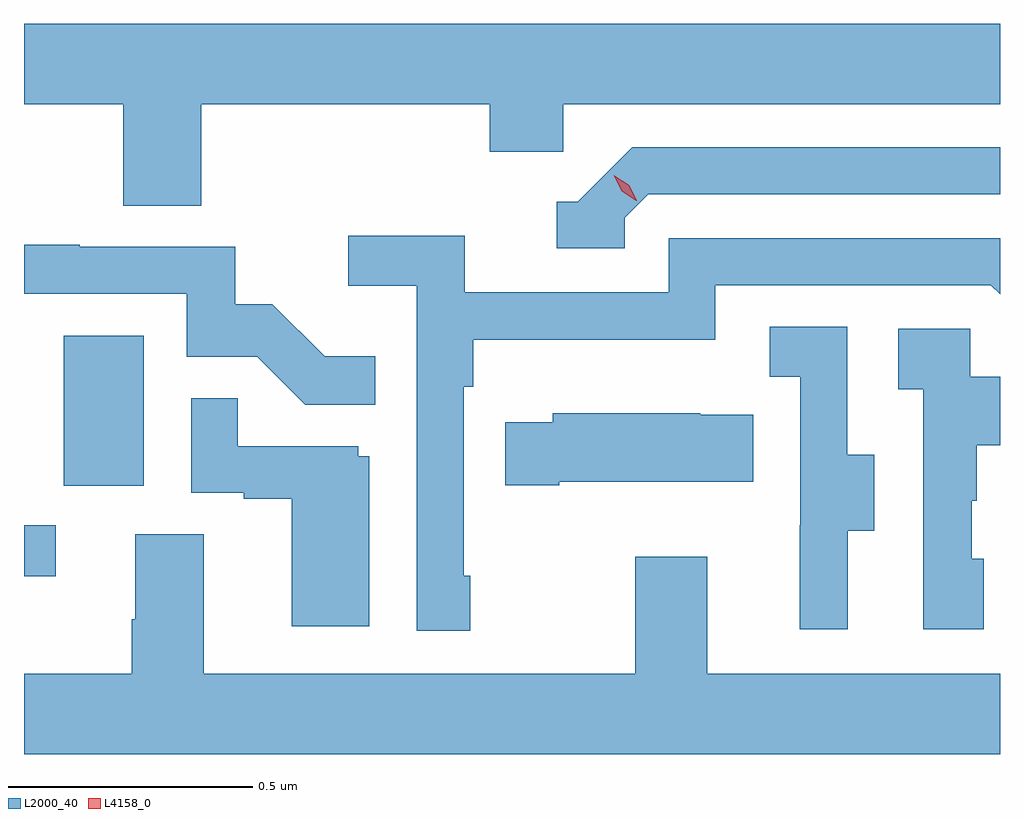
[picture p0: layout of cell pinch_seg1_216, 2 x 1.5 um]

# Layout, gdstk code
import gdstk
lib = gdstk.Library(unit=1e-6, precision=1e-09)
def R(c, l, rs):  # rectangles x0, y0, x1, y1
    for r in rs: c.add(gdstk.rectangle(r[:2], r[2:], *l))
def P(c, l, *ps):  # polygons
    for p in ps: c.add(gdstk.Polygon(p, *l))
L2000_40 = (2000, 40)
L4158_0 = (4158, 0)

pinch_seg1_216 = lib.new_cell('pinch_seg1_216')
R(pinch_seg1_216, L2000_40, [(951.119,566.748,951.184,566.853), (951.2,566.934,951.364,567.241)])
P(pinch_seg1_216, L2000_40, [(951.482,567.716),(952.073,567.716),(952.073,567.618),(952.224,567.618),(952.224,567.716),(953.119,567.716),(953.119,567.88),(951.119,567.88),(951.119,567.716),(951.322,567.716),(951.322,567.508),(951.482,567.508)],
  [(952.35,567.483),(952.398,567.531),(953.119,567.531),(953.119,567.627),(952.365,567.627),(952.254,567.516),(952.211,567.516),(952.211,567.42),(952.35,567.42)],
  [(952.033,566.749),(952.02,566.749),(952.02,567.137),(952.04,567.137),(952.04,567.233),(952.536,567.233),(952.536,567.345),(953.1,567.345),(953.119,567.326),(953.119,567.441),(952.44,567.441),(952.44,567.33),(952.022,567.33),(952.022,567.446),(951.783,567.446),(951.783,567.344),(951.924,567.344),(951.924,566.637),(952.033,566.637)],
  [(951.839,567.199),(951.735,567.199),(951.628,567.306),(951.552,567.306),(951.552,567.423),(951.233,567.423),(951.233,567.428),(951.119,567.428),(951.119,567.327),(951.453,567.327),(951.453,567.198),(951.597,567.198),(951.695,567.1),(951.839,567.1)],
  [(952.807,566.842),(952.861,566.842),(952.861,566.997),(952.806,566.997),(952.806,567.26),(952.647,567.26),(952.647,567.157),(952.71,567.157),(952.71,566.853),(952.709,566.853),(952.709,566.64),(952.807,566.64)],
  [(953.086,566.784),(953.061,566.784),(953.061,566.903),(953.071,566.903),(953.071,567.017),(953.119,567.017),(953.119,567.157),(953.058,567.157),(953.058,567.255),(952.911,567.255),(952.911,567.131),(952.962,567.131),(952.962,566.64),(953.086,566.64)],
  [(951.826,566.994),(951.804,566.994),(951.804,567.015),(951.557,567.015),(951.557,567.113),(951.462,567.113),(951.462,566.919),(951.569,566.919),(951.569,566.907),(951.668,566.907),(951.668,566.646),(951.826,566.646)],
  [(952.216,566.942),(952.613,566.942),(952.613,567.079),(952.505,567.079),(952.505,567.082),(952.203,567.082),(952.203,567.064),(952.105,567.064),(952.105,566.935),(952.216,566.935)],
  [(953.119,566.548),(952.519,566.548),(952.519,566.788),(952.372,566.788),(952.372,566.548),(951.487,566.548),(951.487,566.834),(951.347,566.834),(951.347,566.66),(951.34,566.66),(951.34,566.548),(951.119,566.548),(951.119,566.384),(953.119,566.384)])
P(pinch_seg1_216, L4158_0, [(952.374,567.518),(952.344,567.537),(952.328,567.57),(952.328,567.57),(952.328,567.57),(952.359,567.55),(952.375,567.518),(952.375,567.518)])

lib.write_gds('pinch_seg1_216.gds')
